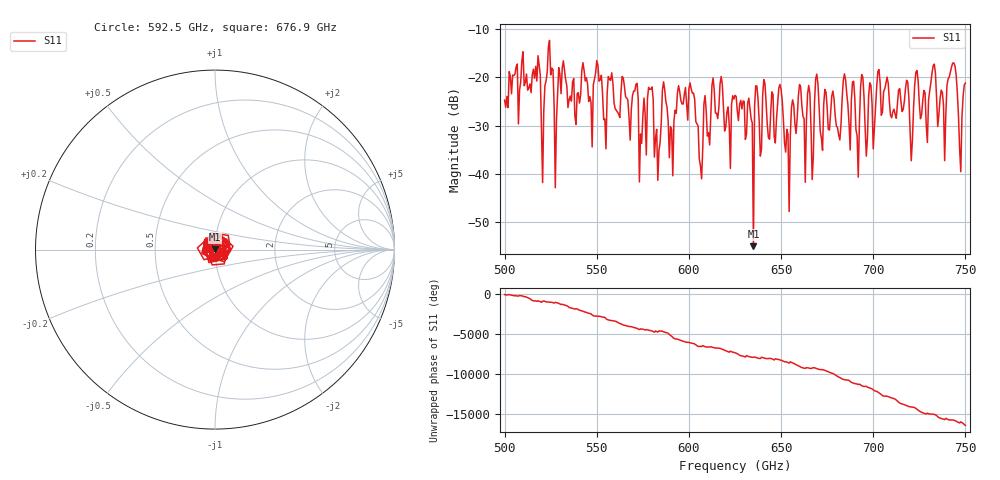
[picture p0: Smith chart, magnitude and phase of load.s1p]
!Created with skrf (http://scikit-rf.org).
# GHz S RI R 50.0
!freq ReS11 ImS11
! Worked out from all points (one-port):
!   401 points, 500 GHz to 750 GHz, reference 50 ohm
!   lowest |S11| = -55.1 dB at 635 GHz (marker M1), VSWR 1.00, Z = 50.2 + j0.092 ohm
!   |S11| at or under -10 dB: start of sweep to end of sweep
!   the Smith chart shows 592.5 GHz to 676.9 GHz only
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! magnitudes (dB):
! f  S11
! 500 GHz  -24.7
! 518.1 GHz  -15.5
! 521.2 GHz  -26.9
! 525 GHz  -19.5
! 528.1 GHz  -29.0
! 531.2 GHz  -18.1
! 562.5 GHz  -28.4
! 571.2 GHz  -21.4
! 574.4 GHz  -33.7
! 579.4 GHz  -22.4
! 582.5 GHz  -30.8
! 586.9 GHz  -22.6
! 590 GHz  -30.2
! 593.8 GHz  -23.3
! 601.9 GHz  -23.3
! 606.2 GHz  -38.4
! 613.1 GHz  -20.1
! 625 GHz  -23.7
! 635 GHz  -55.1
! 649.4 GHz  -21.5
! 653.1 GHz  -30.8
! 656.2 GHz  -24.7
! 687.5 GHz  -35.1
! 718.8 GHz  -21.0
! 738.1 GHz  -25.8
! 743.8 GHz  -17.0
! 747.5 GHz  -39.6
! 750 GHz  -21.2
